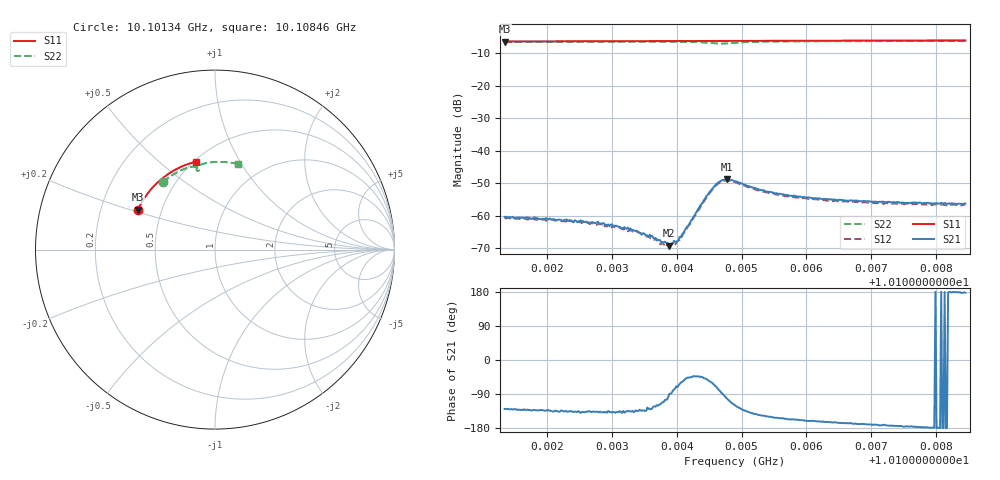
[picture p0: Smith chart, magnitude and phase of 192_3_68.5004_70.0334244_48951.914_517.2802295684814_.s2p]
#  HZ  S  RI  R  50.00
! Rohde & Schwarz Vector Network Analyzer
! Rohde-Schwarz,ZNB20-2Port,1311601062101988,3.16
! Created: UTC 3/20/2024, 4:57:10 PM
! freq[Hz]  re:S11  im:S11  re:S21  im:S21  re:S12  im:S12  re:S22  im:S22
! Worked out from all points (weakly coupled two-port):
!   401 points, 10.10134 GHz to 10.10846 GHz, reference 50 ohm
!   highest |S21| = -48.77 dB at 10.10477 GHz (marker M1); lowest = -69.3 dB at 10.10388 GHz (marker M2)
!   lowest |S11| = -6.3 dB at 10.10134 GHz (marker M3), VSWR 2.87, Z = 18.3 + j10.6 ohm
!   |S11| at or under -10 dB: nowhere
!   |S22| runs from -7.0 to -6.1 dB; largest |S21 - S12| = 0.00038
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1.0101338e10  -0.4287 0.2224  -0.000608 -0.000741  -0.000537 -0.000763  -0.289 0.3775
1.0102068e10  -0.4085 0.2621  -0.000616 -0.000621  -0.000547 -0.000671  -0.2513 0.4064
1.010253e10  -0.3938 0.2861  -0.000603 -0.000559  -0.000514 -0.000571  -0.2257 0.4225
1.0102833e10  -0.3835 0.3014  -0.000569 -0.000506  -0.000503 -0.000547  -0.2082 0.4322
1.0103029e10  -0.3764 0.311  -0.000517 -0.000473  -0.000461 -0.000479  -0.1964 0.4382
1.0103385e10  -0.3631 0.3279  -0.000413 -0.000412  -0.000364 -0.000437  -0.1743 0.4481
1.010367e10  -0.3518 0.3411  -0.000245 -0.000376  -0.000228 -0.000393  -0.1555 0.4549
1.0103723e10  -0.3498 0.3436  -0.000195 -0.000371  -0.00016 -0.000339  -0.1518 0.456
1.0103776e10  -0.3475 0.3461  -0.000144 -0.000363  -9.6e-05 -0.000367  -0.148 0.4573
1.0103883e10  -0.3432 0.3507  4.02e-06 -0.000344  -1.69e-05 -0.000349  -0.1403 0.4592
1.0104008e10  -0.338 0.3562  0.000129 -0.00039  0.000169 -0.000364  -0.1309 0.461
1.0104061e10  -0.3358 0.3586  0.000235 -0.000397  0.00024 -0.000399  -0.1267 0.4616
1.0104435e10  -0.3196 0.3744  0.00121 -0.00137  0.00127 -0.00122  -0.0951 0.4555
1.0104577e10  -0.3133 0.38  0.00115 -0.00258  0.00132 -0.00238  -0.0893 0.4441
1.0104666e10  -0.3092 0.3836  0.000464 -0.00335  0.000734 -0.00315  -0.0932 0.4384
1.0104773e10  -0.3043 0.3878  -0.000744 -0.00357  -0.000381 -0.00345  -0.1006 0.4404
1.0104898e10  -0.2987 0.3927  -0.00168 -0.00296  -0.00138 -0.00298  -0.1024 0.4506
1.0105396e10  -0.2749 0.4115  -0.002 -0.00122  -0.00183 -0.00135  -0.0712 0.4761
1.0105663e10  -0.2616 0.4207  -0.0019 -0.000878  -0.00172 -0.001  -0.0522 0.4814
1.010609e10  -0.2398 0.4346  -0.00174 -0.000626  -0.00166 -0.000724  -0.0231 0.4864
1.0107283e10  -0.1755 0.4671  -0.00163 -0.000185  -0.00151 -0.000329  0.0554 0.4876
1.0108458e10  -0.108 0.4894  -0.00154 6.72e-05  -0.00146 -8.6e-05  0.13 0.476
